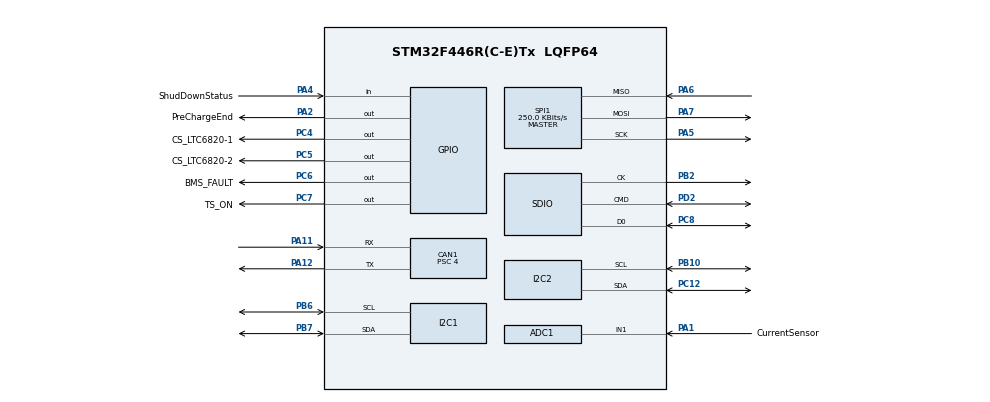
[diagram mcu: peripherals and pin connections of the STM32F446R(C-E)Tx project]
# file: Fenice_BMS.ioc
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ADC1.Channel-27\#ChannelRegularConversion=ADC_CHANNEL_1
ADC1.ClockPrescaler=ADC_CLOCK_SYNC_PCLK_DIV4
ADC1.ContinuousConvMode=ENABLE
ADC1.DMAContinuousRequests=ENABLE
ADC1.NbrOfConversionFlag=1
ADC1.Rank-27\#ChannelRegularConversion=1
ADC1.SamplingTime-27\#ChannelRegularConversion=ADC_SAMPLETIME_3CYCLES
ADC1.master=1
CAN1.BS1=CAN_BS1_6TQ
CAN1.CalculateTimeQuantum=250.0
CAN1.Prescaler=4
Dma.ADC1.0.Direction=DMA_PERIPH_TO_MEMORY
Dma.ADC1.0.FIFOMode=DMA_FIFOMODE_DISABLE
Dma.ADC1.0.Instance=DMA2_Stream0
Dma.ADC1.0.MemDataAlignment=DMA_MDATAALIGN_WORD
Dma.ADC1.0.MemInc=DMA_MINC_ENABLE
Dma.ADC1.0.Mode=DMA_CIRCULAR
Dma.ADC1.0.PeriphDataAlignment=DMA_PDATAALIGN_WORD
Dma.ADC1.0.PeriphInc=DMA_PINC_DISABLE
Dma.ADC1.0.Priority=DMA_PRIORITY_HIGH
Dma.Request0=ADC1
FATFS.USE_DMA_CODE_SD=1
Mcu.Family=STM32F4
Mcu.Name=STM32F446R(C-E)Tx
Mcu.Package=LQFP64
NVIC.DMA2_Stream0_IRQn=true\:0\:0\:false\:false\:true\:false
NVIC.PriorityGroup=NVIC_PRIORITYGROUP_4
NVIC.SDIO_IRQn=true\:0\:0\:false\:false\:true\:true
PA1.GPIO_Label=CurrentSensor
PA1.Signal=ADCx_IN1
PA11.Mode=Master
PA11.Signal=CAN1_RX
PA12.Mode=Master
PA12.Signal=CAN1_TX
PA13.Mode=Serial_Wire
PA13.Signal=SYS_JTMS-SWDIO
PA14.Mode=Serial_Wire
PA14.Signal=SYS_JTCK-SWCLK
PA2.GPIO_Label=PreChargeEnd
PA2.Signal=GPIO_Output
PA4.GPIO_Label=ShudDownStatus
PA4.Signal=GPIO_Input
PA5.Mode=Full_Duplex_Master
PA5.Signal=SPI1_SCK
PA6.Mode=Full_Duplex_Master
PA6.Signal=SPI1_MISO
PA7.Mode=Full_Duplex_Master
PA7.Signal=SPI1_MOSI
PB10.Mode=I2C
PB10.Signal=I2C2_SCL
PB2.Mode=SD_1_bit
PB2.Signal=SDIO_CK
PB6.Mode=I2C
PB6.Signal=I2C1_SCL
PB7.Mode=I2C
PB7.Signal=I2C1_SDA
PC12.Mode=I2C
PC12.Signal=I2C2_SDA
PC4.GPIO_Label=CS_LTC6820-1
PC4.Signal=GPIO_Output
PC5.GPIO_Label=CS_LTC6820-2
PC5.Signal=GPIO_Output
PC6.GPIO_Label=BMS_FAULT
PC6.Signal=GPIO_Output
PC7.GPIO_Label=TS_ON
PC7.Signal=GPIO_Output
PC8.Mode=SD_1_bit
PC8.Signal=SDIO_D0
PD2.Mode=SD_1_bit
PD2.Signal=SDIO_CMD
ProjectManager.HeapSize=0x200
ProjectManager.StackSize=0x400
ProjectManager.TargetToolchain=SW4STM32
RCC.CortexFreq_Value=16000000
RCC.PLLM=8
RCC.PLLN=72
RCC.PLLQ=3
RCC.USBFreq_Value=48000000
RCC.VCOOutputFreq_Value=144000000
SH.ADCx_IN1.0=ADC1_IN1,IN1
SPI1.BaudRatePrescaler=SPI_BAUDRATEPRESCALER_64
SPI1.CalculateBaudRate=250.0 KBits/s
SPI1.Direction=SPI_DIRECTION_2LINES
SPI1.Mode=SPI_MODE_MASTER
SPI1.VirtualType=VM_MASTER
VP_FATFS_VS_SDIO.Mode=SDIO
board=custom

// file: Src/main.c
/**
  ******************************************************************************
  * @file           : main.c
  * @brief          : Main program body
  ******************************************************************************
  * This notice applies to any and all portions of this file
  * that are not between comment pairs USER CODE BEGIN and
  * USER CODE END. Other portions of this file, whether
  * inserted by the user or by software development tools
  * are owned by their respective copyright owners.
  *
  * Copyright (c) 2018 STMicroelectronics International N.V.
  * All rights reserved.
  *
  * Redistribution and use in source and binary forms, with or without
  * modification, are permitted, provided that the following conditions are met:
  *
  * 1. Redistribution of source code must retain the above copyright notice,
  *    this list of conditions and the following disclaimer.
  * 2. Redistributions in binary form must reproduce the above copyright notice,
  *    this list of conditions and the following disclaimer in the documentation
  *    and/or other materials provided with the distribution.
  * 3. Neither the name of STMicroelectronics nor the names of other
  *    contributors to this software may be used to endorse or promote products
  *    derived from this software without specific written permission.
  * 4. This software, including modifications and/or derivative works of this
  *    software, must execute solely and exclusively on microcontroller or
  *    microprocessor devices manufactured by or for STMicroelectronics.
  * 5. Redistribution and use of this software other than as permitted under
  *    this license is void and will automatically terminate your rights under
  *    this license.
  *
  * THIS SOFTWARE IS PROVIDED BY STMICROELECTRONICS AND CONTRIBUTORS "AS IS"
  * AND ANY EXPRESS, IMPLIED OR STATUTORY WARRANTIES, INCLUDING, BUT NOT
  * LIMITED TO, THE IMPLIED WARRANTIES OF MERCHANTABILITY, FITNESS FOR A
  * PARTICULAR PURPOSE AND NON-INFRINGEMENT OF THIRD PARTY INTELLECTUAL PROPERTY
  * RIGHTS ARE DISCLAIMED TO THE FULLEST EXTENT PERMITTED BY LAW. IN NO EVENT
  * SHALL STMICROELECTRONICS OR CONTRIBUTORS BE LIABLE FOR ANY DIRECT, INDIRECT,
  * INCIDENTAL, SPECIAL, EXEMPLARY, OR CONSEQUENTIAL DAMAGES (INCLUDING, BUT NOT
  * LIMITED TO, PROCUREMENT OF SUBSTITUTE GOODS OR SERVICES; LOSS OF USE, DATA,
  * OR PROFITS; OR BUSINESS INTERRUPTION) HOWEVER CAUSED AND ON ANY THEORY OF
  * LIABILITY, WHETHER IN CONTRACT, STRICT LIABILITY, OR TORT (INCLUDING
  * NEGLIGENCE OR OTHERWISE) ARISING IN ANY WAY OUT OF THE USE OF THIS SOFTWARE,
  * EVEN IF ADVISED OF THE POSSIBILITY OF SUCH DAMAGE.
  *
  ******************************************************************************
  */
#include "main.h"
#include "stm32f4xx_hal.h"
#include "fatfs.h"

ADC_HandleTypeDef hadc1;
DMA_HandleTypeDef hdma_adc1;

CAN_HandleTypeDef hcan1;

I2C_HandleTypeDef hi2c1;
I2C_HandleTypeDef hi2c2;

SD_HandleTypeDef hsd;

SPI_HandleTypeDef hspi1;

/* USER CODE BEGIN PV */
/* Private variables ---------------------------------------------------------*/

/* USER CODE END PV */

void SystemClock_Config(void);
static void MX_GPIO_Init(void);
static void MX_DMA_Init(void);
static void MX_SPI1_Init(void);
static void MX_I2C1_Init(void);
static void MX_CAN1_Init(void);
static void MX_ADC1_Init(void);
static void MX_SDIO_SD_Init(void);
static void MX_I2C2_Init(void);

/* USER CODE BEGIN PFP */
/* Private function prototypes -----------------------------------------------*/
/*----- i2c Write Function -----*/
void i_write(unsigned position, unsigned int data,I2C_HandleTypeDef hi2c1){

	int count=0;
	if(data>255){
		while(data>255){
			data=data-255;
			count++;
		}
	}

	if(count>0){
		//for writing to EEPROM
//		HAL_I2C_Mem_Write(&hi2c1,M24M02DRC_1_DATA_ADDRESS, position, 0xFF, (uint8_t*)&count,1,1);
//		HAL_Delay(5);
//		HAL_I2C_Mem_Write(&hi2c1,M24M02DRC_1_DATA_ADDRESS, position+1, 0xFF, (uint8_t*)&data,1,1);
		HAL_Delay(5);
	}else{
//		HAL_I2C_Mem_Write(&hi2c1,M24M02DRC_1_DATA_ADDRESS, position, 0xFF, (uint8_t*)&count,1,1);
//		HAL_Delay(5);
//		HAL_I2C_Mem_Write(&hi2c1,M24M02DRC_1_DATA_ADDRESS, position+1, 0xFF, (uint8_t*)&data,1,1);
	    HAL_Delay(5);
	}
}

/*----- i2c Write Function -----*/
unsigned int i_read(unsigned position, I2C_HandleTypeDef hi2c1){

	int count=0;
	unsigned int data=0;
	//for reading to EEPROM
//	HAL_I2C_Mem_Read(&hi2c1,M24M02DRC_1_DATA_ADDRESS, position, 0xFF, (uint8_t*)&count,1,1);
//	HAL_I2C_Mem_Read(&hi2c1,M24M02DRC_1_DATA_ADDRESS, position+1, 0xFF, (uint8_t*)&data,1,1);
	data=data+(count*255);
	return data;

}
/*----- Scan i2c Addresses -----*/
uint8_t retrieveI2Cid( I2C_HandleTypeDef hi2c1){

	uint8_t i;
	for(i=0; i<255; i++){

			if(HAL_I2C_IsDeviceReady(&hi2c1, i, 1, 10) == HAL_OK){
		    //HAL_GPIO_TogglePin(GPIOD,GPIO_PIN_12);
			break;
			}
			return i;
	}

}

/* USER CODE END PFP */

int main(void)
{

  /* MCU Configuration----------------------------------------------------------*/

  /* Reset of all peripherals, Initializes the Flash interface and the Systick. */
  HAL_Init();

  /* Configure the system clock */
  SystemClock_Config();

  /* Initialize all configured peripherals */
  MX_GPIO_Init();
  MX_DMA_Init();
  MX_SPI1_Init();
  MX_I2C1_Init();
  MX_CAN1_Init();
  MX_ADC1_Init();
  MX_SDIO_SD_Init();
  MX_FATFS_Init();
  MX_I2C2_Init();

  /* Infinite loop */
  while (1)
  {

  }

}

void SystemClock_Config(void)
{

  RCC_OscInitTypeDef RCC_OscInitStruct;
  RCC_ClkInitTypeDef RCC_ClkInitStruct;
  RCC_PeriphCLKInitTypeDef PeriphClkInitStruct;

    /**Configure the main internal regulator output voltage
    */
  __HAL_RCC_PWR_CLK_ENABLE();

  __HAL_PWR_VOLTAGESCALING_CONFIG(PWR_REGULATOR_VOLTAGE_SCALE3);

    /**Initializes the CPU, AHB and APB busses clocks
    */
  RCC_OscInitStruct.OscillatorType = RCC_OSCILLATORTYPE_HSI;
  RCC_OscInitStruct.HSIState = RCC_HSI_ON;
  RCC_OscInitStruct.HSICalibrationValue = 16;
  RCC_OscInitStruct.PLL.PLLState = RCC_PLL_ON;
  RCC_OscInitStruct.PLL.PLLSource = RCC_PLLSOURCE_HSI;
  RCC_OscInitStruct.PLL.PLLM = 8;
  RCC_OscInitStruct.PLL.PLLN = 72;
  RCC_OscInitStruct.PLL.PLLP = RCC_PLLP_DIV2;
  RCC_OscInitStruct.PLL.PLLQ = 3;
  RCC_OscInitStruct.PLL.PLLR = 2;
  if (HAL_RCC_OscConfig(&RCC_OscInitStruct) != HAL_OK)
  {
    _Error_Handler(__FILE__, __LINE__);
  }

    /**Initializes the CPU, AHB and APB busses clocks
    */
  RCC_ClkInitStruct.ClockType = RCC_CLOCKTYPE_HCLK|RCC_CLOCKTYPE_SYSCLK
                              |RCC_CLOCKTYPE_PCLK1|RCC_CLOCKTYPE_PCLK2;
  RCC_ClkInitStruct.SYSCLKSource = RCC_SYSCLKSOURCE_HSI;
  RCC_ClkInitStruct.AHBCLKDivider = RCC_SYSCLK_DIV1;
  RCC_ClkInitStruct.APB1CLKDivider = RCC_HCLK_DIV1;
  RCC_ClkInitStruct.APB2CLKDivider = RCC_HCLK_DIV1;

  if (HAL_RCC_ClockConfig(&RCC_ClkInitStruct, FLASH_LATENCY_0) != HAL_OK)
  {
    _Error_Handler(__FILE__, __LINE__);
  }

  PeriphClkInitStruct.PeriphClockSelection = RCC_PERIPHCLK_SDIO|RCC_PERIPHCLK_CLK48;
  PeriphClkInitStruct.Clk48ClockSelection = RCC_CLK48CLKSOURCE_PLLQ;
  PeriphClkInitStruct.SdioClockSelection = RCC_SDIOCLKSOURCE_CLK48;
  if (HAL_RCCEx_PeriphCLKConfig(&PeriphClkInitStruct) != HAL_OK)
  {
    _Error_Handler(__FILE__, __LINE__);
  }

    /**Configure the Systick interrupt time
    */
  HAL_SYSTICK_Config(HAL_RCC_GetHCLKFreq()/1000);

    /**Configure the Systick
    */
  HAL_SYSTICK_CLKSourceConfig(SYSTICK_CLKSOURCE_HCLK);

  /* SysTick_IRQn interrupt configuration */
  HAL_NVIC_SetPriority(SysTick_IRQn, 0, 0);
}

/* ADC1 init function */
static void MX_ADC1_Init(void)
{

  ADC_ChannelConfTypeDef sConfig;

    /**Configure the global features of the ADC (Clock, Resolution, Data Alignment and number of conversion)
    */
  hadc1.Instance = ADC1;
  hadc1.Init.ClockPrescaler = ADC_CLOCK_SYNC_PCLK_DIV4;
  hadc1.Init.Resolution = ADC_RESOLUTION_12B;
  hadc1.Init.ScanConvMode = DISABLE;
  hadc1.Init.ContinuousConvMode = ENABLE;
  hadc1.Init.DiscontinuousConvMode = DISABLE;
  hadc1.Init.ExternalTrigConvEdge = ADC_EXTERNALTRIGCONVEDGE_NONE;
  hadc1.Init.ExternalTrigConv = ADC_SOFTWARE_START;
  hadc1.Init.DataAlign = ADC_DATAALIGN_RIGHT;
  hadc1.Init.NbrOfConversion = 1;
  hadc1.Init.DMAContinuousRequests = ENABLE;
  hadc1.Init.EOCSelection = ADC_EOC_SINGLE_CONV;
  if (HAL_ADC_Init(&hadc1) != HAL_OK)
  {
    _Error_Handler(__FILE__, __LINE__);
  }

    /**Configure for the selected ADC regular channel its corresponding rank in the sequencer and its sample time.
    */
  sConfig.Channel = ADC_CHANNEL_1;
  sConfig.Rank = 1;
  sConfig.SamplingTime = ADC_SAMPLETIME_3CYCLES;
  if (HAL_ADC_ConfigChannel(&hadc1, &sConfig) != HAL_OK)
  {
    _Error_Handler(__FILE__, __LINE__);
  }

}

/* CAN1 init function */
static void MX_CAN1_Init(void)
{

  hcan1.Instance = CAN1;
  hcan1.Init.Prescaler = 4;
  hcan1.Init.Mode = CAN_MODE_NORMAL;
  hcan1.Init.SyncJumpWidth = CAN_SJW_1TQ;
  hcan1.Init.TimeSeg1 = CAN_BS1_6TQ;
  hcan1.Init.TimeSeg2 = CAN_BS2_1TQ;
  hcan1.Init.TimeTriggeredMode = DISABLE;
  hcan1.Init.AutoBusOff = DISABLE;
  hcan1.Init.AutoWakeUp = DISABLE;
  hcan1.Init.AutoRetransmission = DISABLE;
  hcan1.Init.ReceiveFifoLocked = DISABLE;
  hcan1.Init.TransmitFifoPriority = DISABLE;
  if (HAL_CAN_Init(&hcan1) != HAL_OK)
  {
    _Error_Handler(__FILE__, __LINE__);
  }

}

/* I2C1 init function */
static void MX_I2C1_Init(void)
{

  hi2c1.Instance = I2C1;
  hi2c1.Init.ClockSpeed = 100000;
  hi2c1.Init.DutyCycle = I2C_DUTYCYCLE_2;
  hi2c1.Init.OwnAddress1 = 0;
  hi2c1.Init.AddressingMode = I2C_ADDRESSINGMODE_7BIT;
  hi2c1.Init.DualAddressMode = I2C_DUALADDRESS_DISABLE;
  hi2c1.Init.OwnAddress2 = 0;
  hi2c1.Init.GeneralCallMode = I2C_GENERALCALL_DISABLE;
  hi2c1.Init.NoStretchMode = I2C_NOSTRETCH_DISABLE;
  if (HAL_I2C_Init(&hi2c1) != HAL_OK)
  {
    _Error_Handler(__FILE__, __LINE__);
  }

}

/* I2C2 init function */
static void MX_I2C2_Init(void)
{

  hi2c2.Instance = I2C2;
  hi2c2.Init.ClockSpeed = 100000;
  hi2c2.Init.DutyCycle = I2C_DUTYCYCLE_2;
  hi2c2.Init.OwnAddress1 = 0;
  hi2c2.Init.AddressingMode = I2C_ADDRESSINGMODE_7BIT;
  hi2c2.Init.DualAddressMode = I2C_DUALADDRESS_DISABLE;
  hi2c2.Init.OwnAddress2 = 0;
  hi2c2.Init.GeneralCallMode = I2C_GENERALCALL_DISABLE;
  hi2c2.Init.NoStretchMode = I2C_NOSTRETCH_DISABLE;
  if (HAL_I2C_Init(&hi2c2) != HAL_OK)
  {
    _Error_Handler(__FILE__, __LINE__);
  }

}

/* SDIO init function */
static void MX_SDIO_SD_Init(void)
{

  hsd.Instance = SDIO;
  hsd.Init.ClockEdge = SDIO_CLOCK_EDGE_RISING;
  hsd.Init.ClockBypass = SDIO_CLOCK_BYPASS_DISABLE;
  hsd.Init.ClockPowerSave = SDIO_CLOCK_POWER_SAVE_DISABLE;
  hsd.Init.BusWide = SDIO_BUS_WIDE_1B;
  hsd.Init.HardwareFlowControl = SDIO_HARDWARE_FLOW_CONTROL_DISABLE;
  hsd.Init.ClockDiv = 0;

}

/* SPI1 init function */
static void MX_SPI1_Init(void)
{

  /* SPI1 parameter configuration*/
  hspi1.Instance = SPI1;
  hspi1.Init.Mode = SPI_MODE_MASTER;
  hspi1.Init.Direction = SPI_DIRECTION_2LINES;
  hspi1.Init.DataSize = SPI_DATASIZE_8BIT;
  hspi1.Init.CLKPolarity = SPI_POLARITY_LOW;
  hspi1.Init.CLKPhase = SPI_PHASE_1EDGE;
  hspi1.Init.NSS = SPI_NSS_SOFT;
  hspi1.Init.BaudRatePrescaler = SPI_BAUDRATEPRESCALER_64;
  hspi1.Init.FirstBit = SPI_FIRSTBIT_MSB;
  hspi1.Init.TIMode = SPI_TIMODE_DISABLE;
  hspi1.Init.CRCCalculation = SPI_CRCCALCULATION_DISABLE;
  hspi1.Init.CRCPolynomial = 10;
  if (HAL_SPI_Init(&hspi1) != HAL_OK)
  {
    _Error_Handler(__FILE__, __LINE__);
  }

}

static void MX_DMA_Init(void)
{
  /* DMA controller clock enable */
  __HAL_RCC_DMA2_CLK_ENABLE();

  /* DMA interrupt init */
  /* DMA2_Stream0_IRQn interrupt configuration */
  HAL_NVIC_SetPriority(DMA2_Stream0_IRQn, 0, 0);
  HAL_NVIC_EnableIRQ(DMA2_Stream0_IRQn);

}

/** Configure pins as
        * Analog
        * Input
        * Output
        * EVENT_OUT
        * EXTI
*/
static void MX_GPIO_Init(void)
{

  GPIO_InitTypeDef GPIO_InitStruct;

  /* GPIO Ports Clock Enable */
  __HAL_RCC_GPIOA_CLK_ENABLE();
  __HAL_RCC_GPIOC_CLK_ENABLE();
  __HAL_RCC_GPIOB_CLK_ENABLE();
  __HAL_RCC_GPIOD_CLK_ENABLE();

  /*Configure GPIO pin Output Level */
  HAL_GPIO_WritePin(PreChargeEnd_GPIO_Port, PreChargeEnd_Pin, GPIO_PIN_RESET);

  /*Configure GPIO pin Output Level */
  HAL_GPIO_WritePin(GPIOC, CS_LTC6820_1_Pin|CS_LTC6820_2_Pin|BMS_FAULT_Pin|TS_ON_Pin, GPIO_PIN_RESET);

  /*Configure GPIO pin : PreChargeEnd_Pin */
  GPIO_InitStruct.Pin = PreChargeEnd_Pin;
  GPIO_InitStruct.Mode = GPIO_MODE_OUTPUT_PP;
  GPIO_InitStruct.Pull = GPIO_NOPULL;
  GPIO_InitStruct.Speed = GPIO_SPEED_FREQ_LOW;
  HAL_GPIO_Init(PreChargeEnd_GPIO_Port, &GPIO_InitStruct);

  /*Configure GPIO pin : ShudDownStatus_Pin */
  GPIO_InitStruct.Pin = ShudDownStatus_Pin;
  GPIO_InitStruct.Mode = GPIO_MODE_INPUT;
  GPIO_InitStruct.Pull = GPIO_NOPULL;
  HAL_GPIO_Init(ShudDownStatus_GPIO_Port, &GPIO_InitStruct);

  /*Configure GPIO pins : CS_LTC6820_1_Pin CS_LTC6820_2_Pin BMS_FAULT_Pin TS_ON_Pin */
  GPIO_InitStruct.Pin = CS_LTC6820_1_Pin|CS_LTC6820_2_Pin|BMS_FAULT_Pin|TS_ON_Pin;
  GPIO_InitStruct.Mode = GPIO_MODE_OUTPUT_PP;
  GPIO_InitStruct.Pull = GPIO_NOPULL;
  GPIO_InitStruct.Speed = GPIO_SPEED_FREQ_LOW;
  HAL_GPIO_Init(GPIOC, &GPIO_InitStruct);

}

void _Error_Handler(char *file, int line)
{
  while(1)
  {
  }
}

/************************ (C) COPYRIGHT STMicroelectronics *****END OF FILE****/
